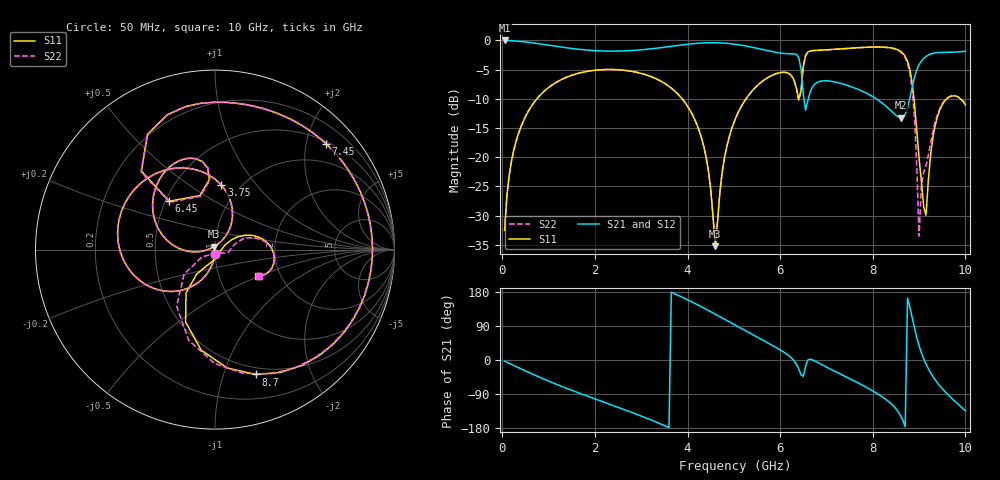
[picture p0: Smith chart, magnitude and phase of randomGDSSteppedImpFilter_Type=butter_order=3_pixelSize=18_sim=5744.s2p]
! freq	dB(S11)	phase(S11)	dB(S12)	phase(S12)
!  dB(S21)	phase(S21)	dB(S22)	phase(S22)
!S-par simulation data
#  GHz  S  DB  R 50
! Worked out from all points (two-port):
!   200 points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, 50 MHz to 10 GHz, reference 50 ohm
!   highest |S21| = -0.01 dB at 50 MHz (marker M1); lowest = -13.2 dB at 8.6 GHz (marker M2)
!   |S21| within 3 dB of the highest: start of sweep to 6.403 GHz; 9.111 GHz to end of sweep
!   lowest |S11| = -35.2 dB at 4.6 GHz (marker M3), VSWR 1.04, Z = 49.2 + j1.55 ohm
!   |S11| at or under -10 dB: start of sweep to 747.2 MHz; 3.883 GHz to 5.263 GHz (1.379 GHz wide, 30.2 % of centre); 8.889 GHz to 9.596 GHz (707 MHz wide, 7.65 % of centre) (the widest 3 of 5)
!   |S22| runs from -35.0 to -1.1 dB; largest |S21 - S12| = 0
!   S11 on the Smith chart (normalised r, x): 50 MHz: 1.00, -0.05; 3.75 GHz: 0.82, +0.68; 6.45 GHz: 0.52, +0.33; 7.45 GHz: 0.55, +2.40; 8.7 GHz: 0.43, -1.28; 10 GHz: 1.53, -0.50
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0.05  -32.51 -93.0  -0.01 -3.0  -0.01 -3.0  -32.51 -93.0
0.2  -20.59 -102.1  -0.06 -11.7  -0.06 -11.7  -20.59 -102.1
0.5  -13.05 -119.5  -0.26 -28.8  -0.26 -28.8  -13.03 -119.4
1.75  -5.43 178.1  -1.59 -91.4  -1.59 -91.4  -5.43 178.1
3.4  -6.87 102.6  -1.26 -167.7  -1.26 -167.7  -6.87 102.6
3.75  -8.86 84.4  -0.90 173.5  -0.90 173.5  -8.86 84.4
4.35  -18.12 53.4  -0.42 137.3  -0.42 137.3  -18.12 53.6
4.6  -35.21 115.1  -0.39 120.9  -0.39 120.9  -35.04 115.2
5.05  -13.10 175.7  -0.68 90.7  -0.68 90.7  -13.10 175.5
6.05  -5.46 112.5  -2.21 23.1  -2.21 23.1  -5.46 112.4
6.45  -8.62 133.4  -4.80 -38.7  -4.80 -38.7  -8.75 133.8
6.55  -2.56 120.3  -11.94 -15.8  -11.94 -15.8  -2.58 120.6
6.7  -1.73 95.5  -7.94 0.3  -7.94 0.3  -1.74 95.6
7.45  -1.36 43.6  -7.69 -46.0  -7.69 -46.0  -1.36 43.4
8.35  -1.23 -21.5  -11.72 -110.5  -11.72 -110.5  -1.26 -22.7
8.6  -1.86 -53.0  -13.24 -146.8  -13.24 -146.8  -1.99 -55.9
8.7  -2.72 -72.0  -12.63 -175.9  -12.63 -175.9  -2.98 -76.8
8.9  -10.74 -123.8  -6.31 84.9  -6.31 84.9  -13.17 -141.6
9  -20.15 -116.5  -4.14 37.7  -4.14 37.7  -33.49 -61.0
9.15  -29.92 -8.5  -2.75 -10.5  -2.75 -10.5  -21.39 0.2
9.4  -12.95 20.6  -2.08 -60.8  -2.08 -60.8  -12.59 16.2
10  -11.01 -32.1  -1.86 -134.0  -1.86 -134.0  -10.91 -30.8
